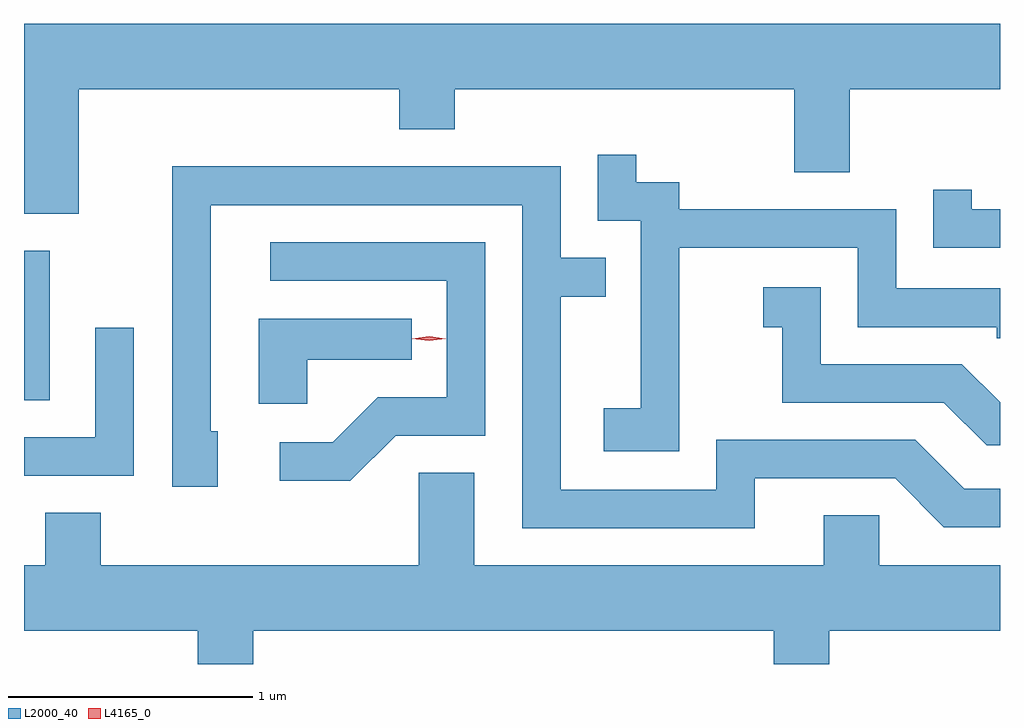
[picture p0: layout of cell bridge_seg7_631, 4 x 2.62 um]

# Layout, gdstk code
import gdstk
lib = gdstk.Library(unit=1e-6, precision=1e-09)
def R(c, l, rs):  # rectangles x0, y0, x1, y1
    for r in rs: c.add(gdstk.rectangle(r[:2], r[2:], *l))
def P(c, l, *ps):  # polygons
    for p in ps: c.add(gdstk.Polygon(p, *l))
L2000_40 = (2000, 40)
L4165_0 = (4165, 0)

bridge_seg7_631 = lib.new_cell('bridge_seg7_631')
R(bridge_seg7_631, L2000_40, [(698.664,1695.281,698.769,1695.894)])
P(bridge_seg7_631, L2000_40, [(698.889,1696.556),(700.201,1696.556),(700.201,1696.391),(700.429,1696.391),(700.429,1696.556),(701.821,1696.556),(701.821,1696.216),(702.049,1696.216),(702.049,1696.556),(702.664,1696.556),(702.664,1696.824),(698.664,1696.824),(698.664,1696.046),(698.889,1696.046)],
  [(701.349,1695.906),(702.081,1695.906),(702.081,1695.581),(702.651,1695.581),(702.651,1695.536),(702.664,1695.536),(702.664,1695.739),(702.239,1695.739),(702.239,1696.064),(701.349,1696.064),(701.349,1696.174),(701.174,1696.174),(701.174,1696.288),(701.016,1696.288),(701.016,1696.016),(701.191,1696.016),(701.191,1695.249),(701.041,1695.249),(701.041,1695.071),(701.349,1695.071)],
  [(701.659,1694.961),(702.234,1694.961),(702.434,1694.761),(702.664,1694.761),(702.664,1694.919),(702.517,1694.919),(702.317,1695.119),(701.501,1695.119),(701.501,1694.914),(700.864,1694.914),(700.864,1695.706),(701.048,1695.706),(701.048,1695.864),(700.864,1695.864),(700.864,1696.239),(699.271,1696.239),(699.271,1694.926),(699.459,1694.926),(699.459,1695.154),(699.429,1695.154),(699.429,1696.081),(700.706,1696.081),(700.706,1694.756),(701.659,1694.756)],
  [(702.664,1696.064),(702.549,1696.064),(702.549,1696.143),(702.391,1696.143),(702.391,1695.906),(702.664,1695.906)],
  [(700.187,1695.136),(700.554,1695.136),(700.554,1695.929),(699.673,1695.929),(699.673,1695.771),(700.396,1695.771),(700.396,1695.294),(700.114,1695.294),(699.929,1695.109),(699.713,1695.109),(699.713,1694.951),(700.002,1694.951)],
  [(702.664,1695.272),(702.507,1695.429),(701.929,1695.429),(701.929,1695.744),(701.693,1695.744),(701.693,1695.581),(701.771,1695.581),(701.771,1695.271),(702.434,1695.271),(702.609,1695.096),(702.664,1695.096)],
  [(699.824,1695.446),(700.253,1695.446),(700.253,1695.614),(699.626,1695.614),(699.626,1695.266),(699.824,1695.266)],
  [(699.114,1695.578),(698.956,1695.578),(698.956,1695.129),(698.664,1695.129),(698.664,1694.971),(699.114,1694.971)],
  [(701.736,1694.199),(701.964,1694.199),(701.964,1694.336),(702.664,1694.336),(702.664,1694.604),(702.169,1694.604),(702.169,1694.809),(701.941,1694.809),(701.941,1694.604),(700.509,1694.604),(700.509,1694.984),(700.281,1694.984),(700.281,1694.604),(698.979,1694.604),(698.979,1694.819),(698.751,1694.819),(698.751,1694.604),(698.664,1694.604),(698.664,1694.336),(699.376,1694.336),(699.376,1694.199),(699.604,1694.199),(699.604,1694.336),(701.736,1694.336)])
P(bridge_seg7_631, L4165_0, [(700.324,1695.524),(700.254,1695.533),(700.254,1695.534),(700.254,1695.534),(700.324,1695.544),(700.393,1695.534),(700.393,1695.534),(700.393,1695.533)])

lib.write_gds('bridge_seg7_631.gds')
